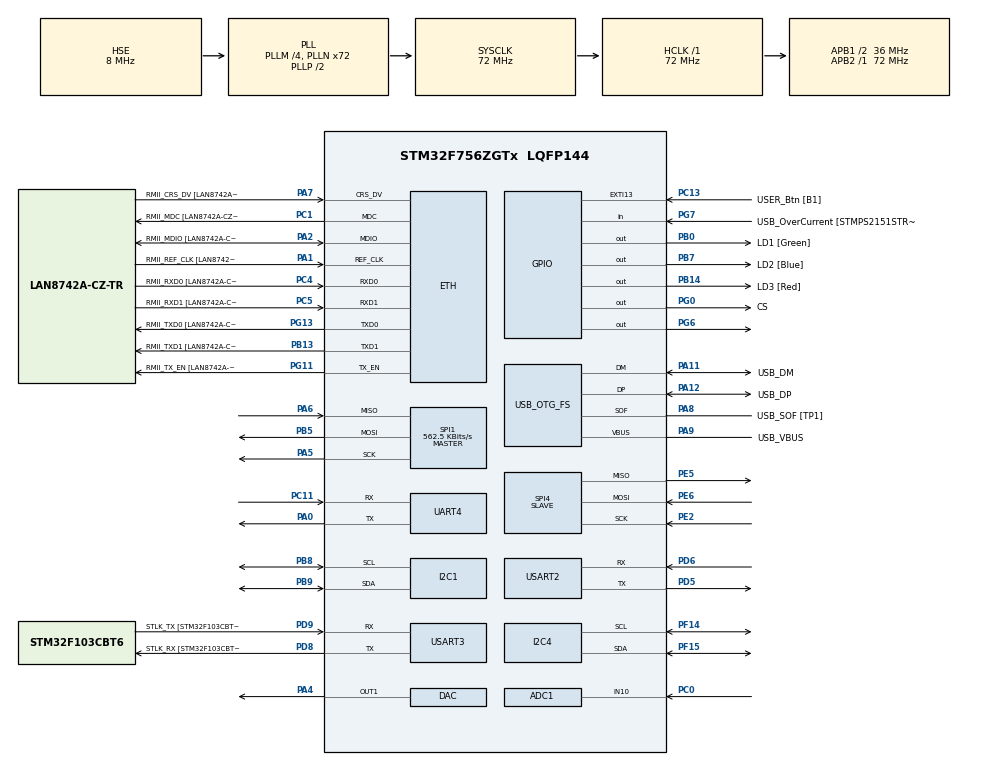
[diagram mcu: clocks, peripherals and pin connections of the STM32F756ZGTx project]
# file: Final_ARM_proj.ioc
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ADC1.Channel-0\#ChannelRegularConversion=ADC_CHANNEL_10
ADC1.NbrOfConversionFlag=1
ADC1.Rank-0\#ChannelRegularConversion=1
ADC1.Resolution=ADC_RESOLUTION_8B
ADC1.SamplingTime-0\#ChannelRegularConversion=ADC_SAMPLETIME_3CYCLES
ADC1.ScanConvMode=ADC_SCAN_ENABLE
ADC1.master=1
CORTEX_M7.CPU_DCache=Disabled
CORTEX_M7.CPU_ICache=Disabled
CORTEX_M7.MPU_Control=__NULL
CORTEX_M7.PREFETCH_ENABLE=0
Dma.I2C1_RX.1.Direction=DMA_PERIPH_TO_MEMORY
Dma.I2C1_RX.1.FIFOMode=DMA_FIFOMODE_DISABLE
Dma.I2C1_RX.1.Instance=DMA1_Stream0
Dma.I2C1_RX.1.MemDataAlignment=DMA_MDATAALIGN_BYTE
Dma.I2C1_RX.1.MemInc=DMA_MINC_ENABLE
Dma.I2C1_RX.1.Mode=DMA_NORMAL
Dma.I2C1_RX.1.PeriphDataAlignment=DMA_PDATAALIGN_BYTE
Dma.I2C1_RX.1.PeriphInc=DMA_PINC_DISABLE
Dma.I2C1_RX.1.Priority=DMA_PRIORITY_LOW
Dma.I2C4_TX.0.Direction=DMA_MEMORY_TO_PERIPH
Dma.I2C4_TX.0.FIFOMode=DMA_FIFOMODE_DISABLE
Dma.I2C4_TX.0.Instance=DMA1_Stream5
Dma.I2C4_TX.0.MemDataAlignment=DMA_MDATAALIGN_BYTE
Dma.I2C4_TX.0.MemInc=DMA_MINC_ENABLE
Dma.I2C4_TX.0.Mode=DMA_NORMAL
Dma.I2C4_TX.0.PeriphDataAlignment=DMA_PDATAALIGN_BYTE
Dma.I2C4_TX.0.PeriphInc=DMA_PINC_DISABLE
Dma.I2C4_TX.0.Priority=DMA_PRIORITY_LOW
Dma.Request0=I2C4_TX
Dma.Request1=I2C1_RX
Dma.Request2=UART4_RX
Dma.Request3=USART2_TX
Dma.Request4=SPI4_RX
Dma.Request5=SPI4_TX
Dma.Request6=SPI1_RX
Dma.Request7=SPI1_TX
Dma.SPI1_RX.6.Direction=DMA_PERIPH_TO_MEMORY
Dma.SPI1_RX.6.FIFOMode=DMA_FIFOMODE_DISABLE
Dma.SPI1_RX.6.Instance=DMA2_Stream2
Dma.SPI1_RX.6.MemDataAlignment=DMA_MDATAALIGN_BYTE
Dma.SPI1_RX.6.MemInc=DMA_MINC_ENABLE
Dma.SPI1_RX.6.Mode=DMA_NORMAL
Dma.SPI1_RX.6.PeriphDataAlignment=DMA_PDATAALIGN_BYTE
Dma.SPI1_RX.6.PeriphInc=DMA_PINC_DISABLE
Dma.SPI1_RX.6.Priority=DMA_PRIORITY_LOW
Dma.SPI1_TX.7.Direction=DMA_MEMORY_TO_PERIPH
Dma.SPI1_TX.7.FIFOMode=DMA_FIFOMODE_DISABLE
Dma.SPI1_TX.7.Instance=DMA2_Stream3
Dma.SPI1_TX.7.MemDataAlignment=DMA_MDATAALIGN_BYTE
Dma.SPI1_TX.7.MemInc=DMA_MINC_ENABLE
Dma.SPI1_TX.7.Mode=DMA_NORMAL
Dma.SPI1_TX.7.PeriphDataAlignment=DMA_PDATAALIGN_BYTE
Dma.SPI1_TX.7.PeriphInc=DMA_PINC_DISABLE
Dma.SPI1_TX.7.Priority=DMA_PRIORITY_LOW
Dma.SPI4_RX.4.Direction=DMA_PERIPH_TO_MEMORY
Dma.SPI4_RX.4.FIFOMode=DMA_FIFOMODE_DISABLE
Dma.SPI4_RX.4.Instance=DMA2_Stream0
Dma.SPI4_RX.4.MemDataAlignment=DMA_MDATAALIGN_BYTE
Dma.SPI4_RX.4.MemInc=DMA_MINC_ENABLE
Dma.SPI4_RX.4.Mode=DMA_NORMAL
Dma.SPI4_RX.4.PeriphDataAlignment=DMA_PDATAALIGN_BYTE
Dma.SPI4_RX.4.PeriphInc=DMA_PINC_DISABLE
Dma.SPI4_RX.4.Priority=DMA_PRIORITY_LOW
Dma.SPI4_TX.5.Direction=DMA_MEMORY_TO_PERIPH
Dma.SPI4_TX.5.FIFOMode=DMA_FIFOMODE_DISABLE
Dma.SPI4_TX.5.Instance=DMA2_Stream1
Dma.SPI4_TX.5.MemDataAlignment=DMA_MDATAALIGN_BYTE
Dma.SPI4_TX.5.MemInc=DMA_MINC_ENABLE
Dma.SPI4_TX.5.Mode=DMA_NORMAL
Dma.SPI4_TX.5.PeriphDataAlignment=DMA_PDATAALIGN_BYTE
Dma.SPI4_TX.5.PeriphInc=DMA_PINC_DISABLE
Dma.SPI4_TX.5.Priority=DMA_PRIORITY_LOW
Dma.UART4_RX.2.Direction=DMA_PERIPH_TO_MEMORY
Dma.UART4_RX.2.FIFOMode=DMA_FIFOMODE_DISABLE
Dma.UART4_RX.2.Instance=DMA1_Stream2
Dma.UART4_RX.2.MemDataAlignment=DMA_MDATAALIGN_BYTE
Dma.UART4_RX.2.MemInc=DMA_MINC_ENABLE
Dma.UART4_RX.2.Mode=DMA_NORMAL
Dma.UART4_RX.2.PeriphDataAlignment=DMA_PDATAALIGN_BYTE
Dma.UART4_RX.2.PeriphInc=DMA_PINC_DISABLE
Dma.UART4_RX.2.Priority=DMA_PRIORITY_LOW
Dma.USART2_TX.3.Direction=DMA_MEMORY_TO_PERIPH
Dma.USART2_TX.3.FIFOMode=DMA_FIFOMODE_DISABLE
Dma.USART2_TX.3.Instance=DMA1_Stream6
Dma.USART2_TX.3.MemDataAlignment=DMA_MDATAALIGN_BYTE
Dma.USART2_TX.3.MemInc=DMA_MINC_ENABLE
Dma.USART2_TX.3.Mode=DMA_NORMAL
Dma.USART2_TX.3.PeriphDataAlignment=DMA_PDATAALIGN_BYTE
Dma.USART2_TX.3.PeriphInc=DMA_PINC_DISABLE
Dma.USART2_TX.3.Priority=DMA_PRIORITY_LOW
ETH.MediaInterface=HAL_ETH_RMII_MODE
ETH.PHY_Name=LAN8742A_PHY_ADDRESS
ETH.PHY_Value=0
ETH.PhyAddress=0
FREERTOS.BinarySemaphores01=UartRx,Dynamic,NULL,Depleted;UartTx,Dynamic,NULL,Depleted;I2cRx,Dynamic,NULL,Depleted;I2cTx,Dynamic,NULL,Depleted;SpiRx,Dynamic,NULL,Depleted;AdcSem,Dynamic,NULL,Depleted;TimSem,Dynamic,NULL,Depleted;SpiSlaveRx,Dynamic,NULL,Depleted
FREERTOS.Queues01=testsQ,16,4,1,Dynamic,NULL,NULL
FREERTOS.Tasks01=defaultTask,24,1024,lwip_initiation,Default,NULL,Dynamic,NULL,NULL;blink_task,8,1024,blinking_blue,Default,NULL,Dynamic,NULL,NULL;udp_task,8,1024,udp_function,Default,NULL,Dynamic,NULL,NULL;performing_task,40,2048,perform_tests,Default,NULL,Dynamic,NULL,NULL
FREERTOS.configMINIMAL_STACK_SIZE=256
FREERTOS.configTOTAL_HEAP_SIZE=102400
FREERTOS.configUSE_NEWLIB_REENTRANT=1
I2C1.GeneralCallMode=I2C_GENERALCALL_DISABLE
I2C1.OwnAddress=0x78
I2C1.Timing=0x00808CD2
I2C4.Timing=0x00808CD2
LWIP.BSP.number=1
LWIP.DHCP_DEBUG=LWIP_DBG_ON
LWIP.ETH_RX_BUFFER_CNT=24
LWIP.IP_ADDRESS=192.168.100.002
LWIP.LWIP_DHCP=0
LWIP.LWIP_IPV6=0
LWIP.MEM_SIZE=10*1024
LWIP.NETIF_DEBUG=LWIP_DBG_ON
LWIP.NETMASK_ADDRESS=255.255.255.000
LWIP.Version=v2.1.2_Cube
LWIP0.BSP.STBoard=false
LWIP0.BSP.api=BSP_COMPONENT_DRIVER
LWIP0.BSP.component=LAN8742
LWIP0.BSP.instance=LAN8742
LWIP0.BSP.name=Driver_PHY
LWIP0.BSP.semaphore=S_LAN8742
LWIP0.BSP.solution=LAN8742
Mcu.Family=STM32F7
Mcu.Name=STM32F756ZGTx
Mcu.Package=LQFP144
NVIC.ADC_IRQn=true\:5\:0\:false\:false\:true\:true\:true\:true\:true
NVIC.DMA1_Stream0_IRQn=true\:6\:0\:true\:false\:true\:true\:false\:true\:true
NVIC.DMA1_Stream2_IRQn=true\:6\:0\:true\:false\:true\:true\:false\:true\:true
NVIC.DMA1_Stream5_IRQn=true\:6\:0\:true\:false\:true\:true\:false\:true\:true
NVIC.DMA1_Stream6_IRQn=true\:6\:0\:true\:false\:true\:true\:false\:true\:true
NVIC.DMA2_Stream0_IRQn=true\:6\:0\:true\:false\:true\:true\:false\:true\:true
NVIC.DMA2_Stream1_IRQn=true\:6\:0\:true\:false\:true\:true\:false\:true\:true
NVIC.DMA2_Stream2_IRQn=true\:6\:0\:true\:false\:true\:true\:false\:true\:true
NVIC.DMA2_Stream3_IRQn=true\:6\:0\:true\:false\:true\:true\:false\:true\:true
NVIC.ETH_IRQn=true\:5\:0\:false\:false\:true\:true\:true\:true\:true
NVIC.ETH_WKUP_IRQn=true\:5\:0\:false\:false\:true\:true\:true\:true\:true
NVIC.EXTI15_10_IRQn=true\:5\:0\:false\:false\:true\:true\:true\:true\:true
NVIC.FPU_IRQn=true\:5\:0\:false\:false\:true\:true\:true\:false\:true
NVIC.I2C1_ER_IRQn=true\:5\:0\:false\:false\:true\:true\:true\:true\:true
NVIC.I2C1_EV_IRQn=true\:5\:0\:false\:false\:true\:true\:true\:true\:true
NVIC.I2C4_ER_IRQn=true\:5\:0\:false\:false\:true\:true\:true\:true\:true
NVIC.I2C4_EV_IRQn=true\:5\:0\:false\:false\:true\:true\:true\:true\:true
NVIC.PriorityGroup=NVIC_PRIORITYGROUP_4
NVIC.RCC_IRQn=true\:5\:0\:false\:false\:true\:true\:true\:false\:true
NVIC.SPI1_IRQn=true\:6\:0\:true\:false\:true\:true\:true\:true\:true
NVIC.SPI4_IRQn=true\:5\:0\:false\:false\:true\:true\:true\:true\:true
NVIC.TIM6_DAC_IRQn=true\:5\:0\:false\:false\:true\:false\:false\:true\:true
NVIC.TIM7_IRQn=true\:5\:0\:false\:false\:true\:true\:true\:true\:true
NVIC.TimeBase=TIM6_DAC_IRQn
NVIC.TimeBaseIP=TIM6
NVIC.UART4_IRQn=true\:6\:0\:true\:false\:true\:true\:true\:true\:true
NVIC.USART2_IRQn=true\:6\:0\:true\:false\:true\:true\:true\:true\:true
NVIC.USART3_IRQn=true\:5\:0\:false\:false\:true\:true\:true\:true\:true
PA0/WKUP.Mode=Asynchronous
PA0/WKUP.Signal=UART4_TX
PA1.GPIO_Label=RMII_REF_CLK [LAN8742A-CZ-TR_REFCLK0]
PA1.Mode=RMII
PA1.Signal=ETH_REF_CLK
PA10.GPIO_Label=USB_ID
PA10.Signal=USB_OTG_FS_ID
PA11.GPIO_Label=USB_DM
PA11.Mode=Device_Only
PA11.Signal=USB_OTG_FS_DM
PA12.GPIO_Label=USB_DP
PA12.Mode=Device_Only
PA12.Signal=USB_OTG_FS_DP
PA13.GPIO_Label=TMS
PA13.Mode=Serial_Wire
PA13.Signal=SYS_JTMS-SWDIO
PA14.GPIO_Label=TCK
PA14.Mode=Serial_Wire
PA14.Signal=SYS_JTCK-SWCLK
PA2.GPIO_Label=RMII_MDIO [LAN8742A-CZ-TR_MDIO]
PA2.Mode=RMII
PA2.Signal=ETH_MDIO
PA4.Signal=COMP_DAC1_group
PA5.Mode=Full_Duplex_Master
PA5.Signal=SPI1_SCK
PA6.Mode=Full_Duplex_Master
PA6.Signal=SPI1_MISO
PA7.GPIO_Label=RMII_CRS_DV [LAN8742A-CZ-TR_CRS_DV]
PA7.Mode=RMII
PA7.Signal=ETH_CRS_DV
PA8.GPIO_Label=USB_SOF [TP1]
PA8.Mode=Activate_SOF_FS
PA8.Signal=USB_OTG_FS_SOF
PA9.GPIO_Label=USB_VBUS
PA9.Mode=Activate_VBUS
PA9.Signal=USB_OTG_FS_VBUS
PB0.GPIO_Label=LD1 [Green]
PB0.Signal=GPIO_Output
PB13.GPIO_Label=RMII_TXD1 [LAN8742A-CZ-TR_TXD1]
PB13.Mode=RMII
PB13.Signal=ETH_TXD1
PB14.GPIO_Label=LD3 [Red]
PB14.Signal=GPIO_Output
PB3.GPIO_Label=SW0
PB3.Signal=SYS_JTDO-SWO
PB5.Mode=Full_Duplex_Master
PB5.Signal=SPI1_MOSI
PB7.GPIO_Label=LD2 [Blue]
PB7.Signal=GPIO_Output
PB8.GPIO_Mode=GPIO_MODE_AF_OD
PB8.GPIO_Pu=GPIO_PULLUP
PB8.Mode=I2C
PB8.Signal=I2C1_SCL
PB9.GPIO_Pu=GPIO_PULLUP
PB9.Mode=I2C
PB9.Signal=I2C1_SDA
PC0.Signal=ADCx_IN10
PC1.GPIO_Label=RMII_MDC [LAN8742A-CZ-TR_MDC]
PC1.Mode=RMII
PC1.Signal=ETH_MDC
PC11.Mode=Asynchronous
PC11.Signal=UART4_RX
PC13.GPIO_Label=USER_Btn [B1]
PC13.Signal=GPXTI13
PC14/OSC32_IN.Mode=LSE-External-Oscillator
PC14/OSC32_IN.Signal=RCC_OSC32_IN
PC15/OSC32_OUT.Mode=LSE-External-Oscillator
PC15/OSC32_OUT.Signal=RCC_OSC32_OUT
PC4.GPIO_Label=RMII_RXD0 [LAN8742A-CZ-TR_RXD0]
PC4.Mode=RMII
PC4.Signal=ETH_RXD0
PC5.GPIO_Label=RMII_RXD1 [LAN8742A-CZ-TR_RXD1]
PC5.Mode=RMII
PC5.Signal=ETH_RXD1
PD5.Mode=Asynchronous
PD5.Signal=USART2_TX
PD6.Mode=Asynchronous
PD6.Signal=USART2_RX
PD8.GPIO_Label=STLK_RX [STM32F103CBT6_PA3]
PD8.Mode=Asynchronous
PD8.Signal=USART3_TX
PD9.GPIO_Label=STLK_TX [STM32F103CBT6_PA2]
PD9.Mode=Asynchronous
PD9.Signal=USART3_RX
PE2.Mode=Full_Duplex_Slave
PE2.Signal=SPI4_SCK
PE5.Mode=Full_Duplex_Slave
PE5.Signal=SPI4_MISO
PE6.Mode=Full_Duplex_Slave
PE6.Signal=SPI4_MOSI
PF14.GPIO_Pu=GPIO_PULLUP
PF14.Mode=I2C
PF14.Signal=I2C4_SCL
PF15.GPIO_Pu=GPIO_PULLUP
PF15.Mode=I2C
PF15.Signal=I2C4_SDA
PG0.GPIO_Label=CS
PG0.PinState=GPIO_PIN_SET
PG0.Signal=GPIO_Output
PG11.GPIO_Label=RMII_TX_EN [LAN8742A-CZ-TR_TXEN]
PG11.Mode=RMII
PG11.Signal=ETH_TX_EN
PG13.GPIO_Label=RMII_TXD0 [LAN8742A-CZ-TR_TXD0]
PG13.Mode=RMII
PG13.Signal=ETH_TXD0
PG6.Signal=GPIO_Output
PG7.GPIO_Label=USB_OverCurrent [STMPS2151STR_FAULT]
PG7.Signal=GPIO_Input
PH0/OSC_IN.GPIO_Label=MCO [STM32F103CBT6_PA8]
PH0/OSC_IN.Mode=HSE-External-Clock-Source
PH0/OSC_IN.Signal=RCC_OSC_IN
PH1/OSC_OUT.Mode=HSE-External-Clock-Source
PH1/OSC_OUT.Signal=RCC_OSC_OUT
ProjectManager.HeapSize=0x200
ProjectManager.StackSize=0x400
ProjectManager.TargetToolchain=STM32CubeIDE
RCC.48MHZClocksFreq_Value=24000000
RCC.AHBFreq_Value=72000000
RCC.APB1CLKDivider=RCC_HCLK_DIV2
RCC.APB1Freq_Value=36000000
RCC.APB1TimFreq_Value=72000000
RCC.APB2Freq_Value=72000000
RCC.APB2TimFreq_Value=72000000
RCC.CortexFreq_Value=72000000
RCC.HCLKFreq_Value=72000000
RCC.HSE_VALUE=8000000
RCC.HSI_VALUE=16000000
RCC.PLLM=4
RCC.PLLMUL=RCC_PLL_MUL9
RCC.PLLN=72
RCC.PLLQ=3
RCC.PRESCALERUSB=RCC_USBCLKSOURCE_PLL_DIV1_5
RCC.SYSCLKFreq_VALUE=72000000
RCC.SYSCLKSource=RCC_SYSCLKSOURCE_PLLCLK
RCC.SYSCLKSourceVirtual=RCC_SYSCLKSOURCE_PLLCLK
RCC.UART4CLockSelection=RCC_UART4CLKSOURCE_SYSCLK
RCC.USART2CLockSelection=RCC_USART2CLKSOURCE_SYSCLK
RCC.USBFreq_Value=48000000
RCC.VCOOutputFreq_Value=144000000
SH.ADCx_IN10.0=ADC1_IN10,IN10
SH.COMP_DAC1_group.0=DAC_OUT1,DAC_OUT1
SPI1.BaudRatePrescaler=SPI_BAUDRATEPRESCALER_128
SPI1.CLKPhase=SPI_PHASE_1EDGE
SPI1.CLKPolarity=SPI_POLARITY_HIGH
SPI1.CRCCalculation=SPI_CRCCALCULATION_DISABLE
SPI1.CalculateBaudRate=562.5 KBits/s
SPI1.DataSize=SPI_DATASIZE_8BIT
SPI1.Direction=SPI_DIRECTION_2LINES
SPI1.Mode=SPI_MODE_MASTER
SPI1.VirtualType=VM_MASTER
SPI4.CLKPhase=SPI_PHASE_1EDGE
SPI4.CLKPolarity=SPI_POLARITY_HIGH
SPI4.DataSize=SPI_DATASIZE_8BIT
SPI4.Direction=SPI_DIRECTION_2LINES
SPI4.Mode=SPI_MODE_SLAVE
SPI4.VirtualType=VM_SLAVE
TIM7.Period=100 - 1
TIM7.Prescaler=48000 - 1
USART2.VirtualMode-Asynchronous=VM_ASYNC
USART3.VirtualMode-Asynchronous=VM_ASYNC
USB_OTG_FS.VirtualMode=Device_Only
VP_CRC_VS_CRC.Mode=CRC_Activate
VP_FREERTOS_VS_CMSIS_V2.Mode=CMSIS_V2
VP_LWIP_VS_Enabled.Mode=Enabled
VP_SYS_VS_tim6.Mode=TIM6
VP_TIM7_VS_ClockSourceINT.Mode=Enable_Timer
board=NUCLEO-F756ZG

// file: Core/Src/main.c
/* USER CODE BEGIN Header */
/**
  ******************************************************************************
  * @file           : main.c
  * @brief          : Main program body
  ******************************************************************************
  * @attention
  *
  * Copyright (c) 2025 STMicroelectronics.
  * All rights reserved.
  *
  * This software is licensed under terms that can be found in the LICENSE file
  * in the root directory of this software component.
  * If no LICENSE file comes with this software, it is provided AS-IS.
  *
  *
  ******************************************************************************
  */
/* USER CODE END Header */
#include "main.h"
#include "cmsis_os.h"
#include "lwip.h"

/* USER CODE BEGIN Includes */
#include <stdarg.h>

#include "lwip/udp.h"

#include "FreeRTOS.h"
#include "semphr.h" // For semaphore-specific functions and types like SemaphoreHandle_t

#include "project_header.h"
#include "uarts.h"
#include "i2cs.h"
#include "spis.h"
#include "adcs.h"
#include "timer_test.h"

/* USER CODE END Includes */

/* USER CODE BEGIN PD */
extern struct netif gnetif;

/* USER CODE END PD */

/* USER CODE BEGIN PM */
#define LOCAL_PORT   5005

/* USER CODE END PM */

ADC_HandleTypeDef hadc1;

CRC_HandleTypeDef hcrc;

DAC_HandleTypeDef hdac;

I2C_HandleTypeDef hi2c1;
I2C_HandleTypeDef hi2c4;
DMA_HandleTypeDef hdma_i2c1_rx;
DMA_HandleTypeDef hdma_i2c4_tx;

SPI_HandleTypeDef hspi1;
SPI_HandleTypeDef hspi4;
DMA_HandleTypeDef hdma_spi1_rx;
DMA_HandleTypeDef hdma_spi1_tx;
DMA_HandleTypeDef hdma_spi4_rx;
DMA_HandleTypeDef hdma_spi4_tx;

TIM_HandleTypeDef htim7;

UART_HandleTypeDef huart4;
UART_HandleTypeDef huart2;
UART_HandleTypeDef huart3;
DMA_HandleTypeDef hdma_uart4_rx;
DMA_HandleTypeDef hdma_usart2_tx;

PCD_HandleTypeDef hpcd_USB_OTG_FS;

/* Definitions for defaultTask */
osThreadId_t defaultTaskHandle;
const osThreadAttr_t defaultTask_attributes = {
  .name = "defaultTask",
  .stack_size = 1024 * 4,
  .priority = (osPriority_t) osPriorityNormal,
};
/* Definitions for blink_task */
osThreadId_t blink_taskHandle;
const osThreadAttr_t blink_task_attributes = {
  .name = "blink_task",
  .stack_size = 1024 * 4,
  .priority = (osPriority_t) osPriorityLow,
};
/* Definitions for udp_task */
osThreadId_t udp_taskHandle;
const osThreadAttr_t udp_task_attributes = {
  .name = "udp_task",
  .stack_size = 1024 * 4,
  .priority = (osPriority_t) osPriorityLow,
};
/* Definitions for performing_task */
osThreadId_t performing_taskHandle;
const osThreadAttr_t performing_task_attributes = {
  .name = "performing_task",
  .stack_size = 2048 * 4,
  .priority = (osPriority_t) osPriorityHigh,
};
/* Definitions for testsQ */
osMessageQueueId_t testsQHandle;
const osMessageQueueAttr_t testsQ_attributes = {
  .name = "testsQ"
};
/* Definitions for UartRx */
osSemaphoreId_t UartRxHandle;
const osSemaphoreAttr_t UartRx_attributes = {
  .name = "UartRx"
};
/* Definitions for UartTx */
osSemaphoreId_t UartTxHandle;
const osSemaphoreAttr_t UartTx_attributes = {
  .name = "UartTx"
};
/* Definitions for I2cRx */
osSemaphoreId_t I2cRxHandle;
const osSemaphoreAttr_t I2cRx_attributes = {
  .name = "I2cRx"
};
/* Definitions for I2cTx */
osSemaphoreId_t I2cTxHandle;
const osSemaphoreAttr_t I2cTx_attributes = {
  .name = "I2cTx"
};
/* Definitions for SpiRx */
osSemaphoreId_t SpiRxHandle;
const osSemaphoreAttr_t SpiRx_attributes = {
  .name = "SpiRx"
};
/* Definitions for AdcSem */
osSemaphoreId_t AdcSemHandle;
const osSemaphoreAttr_t AdcSem_attributes = {
  .name = "AdcSem"
};
/* Definitions for TimSem */
osSemaphoreId_t TimSemHandle;
const osSemaphoreAttr_t TimSem_attributes = {
  .name = "TimSem"
};
/* Definitions for SpiSlaveRx */
osSemaphoreId_t SpiSlaveRxHandle;
const osSemaphoreAttr_t SpiSlaveRx_attributes = {
  .name = "SpiSlaveRx"
};

void SystemClock_Config(void);
static void MX_GPIO_Init(void);
static void MX_DMA_Init(void);
static void MX_I2C1_Init(void);
static void MX_USART3_UART_Init(void);
static void MX_USB_OTG_FS_PCD_Init(void);
static void MX_USART2_UART_Init(void);
static void MX_CRC_Init(void);
static void MX_I2C4_Init(void);
static void MX_SPI1_Init(void);
static void MX_ADC1_Init(void);
static void MX_TIM7_Init(void);
static void MX_UART4_Init(void);
static void MX_DAC_Init(void);
static void MX_SPI4_Init(void);
void lwip_initiation(void *argument);
void blinking_blue(void *argument);
void udp_function(void *argument);
void perform_tests(void *argument);

/* USER CODE BEGIN PFP */

static struct udp_pcb *udp_pcb_handle;
void udp_receive_init(void);
void udp_receive_callback(void *arg, struct udp_pcb *pcb,
                          struct pbuf *p, const ip_addr_t *addr, u16_t port);
int send_response(result_pro_t result);
uint32_t calculate_crc(uint8_t *data, size_t length);

/* USER CODE END PFP */

/* USER CODE BEGIN 0 */

ip_addr_t g_server_addr;
u16_t g_server_port;

/* USER CODE END 0 */

int main(void)
{

  /* MCU Configuration--------------------------------------------------------*/

  /* Reset of all peripherals, Initializes the Flash interface and the Systick. */
  HAL_Init();

  /* Configure the system clock */
  SystemClock_Config();

  /* Initialize all configured peripherals */
  MX_GPIO_Init();
  MX_DMA_Init();
  MX_I2C1_Init();
  MX_USART3_UART_Init();
  MX_USB_OTG_FS_PCD_Init();
  MX_USART2_UART_Init();
  MX_CRC_Init();
  MX_I2C4_Init();
  MX_SPI1_Init();
  MX_ADC1_Init();
  MX_TIM7_Init();
  MX_UART4_Init();
  MX_DAC_Init();
  MX_SPI4_Init();
  /* USER CODE BEGIN 2 */
  // SPI Slave start to listen

  /* USER CODE END 2 */

  /* Init scheduler */
  osKernelInitialize();

  /* Create the semaphores(s) */
  /* creation of UartRx */
  UartRxHandle = osSemaphoreNew(1, 0, &UartRx_attributes);

  /* creation of UartTx */
  UartTxHandle = osSemaphoreNew(1, 0, &UartTx_attributes);

  /* creation of I2cRx */
  I2cRxHandle = osSemaphoreNew(1, 0, &I2cRx_attributes);

  /* creation of I2cTx */
  I2cTxHandle = osSemaphoreNew(1, 0, &I2cTx_attributes);

  /* creation of SpiRx */
  SpiRxHandle = osSemaphoreNew(1, 0, &SpiRx_attributes);

  /* creation of AdcSem */
  AdcSemHandle = osSemaphoreNew(1, 0, &AdcSem_attributes);

  /* creation of TimSem */
  TimSemHandle = osSemaphoreNew(1, 0, &TimSem_attributes);

  /* creation of SpiSlaveRx */
  SpiSlaveRxHandle = osSemaphoreNew(1, 0, &SpiSlaveRx_attributes);

  /* Create the queue(s) */
  /* creation of testsQ */
  testsQHandle = osMessageQueueNew (16, 4, &testsQ_attributes);

  /* Create the thread(s) */
  /* creation of defaultTask */
  defaultTaskHandle = osThreadNew(lwip_initiation, NULL, &defaultTask_attributes);

  /* creation of blink_task */
  blink_taskHandle = osThreadNew(blinking_blue, NULL, &blink_task_attributes);

  /* creation of udp_task */
  udp_taskHandle = osThreadNew(udp_function, NULL, &udp_task_attributes);

  /* creation of performing_task */
  performing_taskHandle = osThreadNew(perform_tests, NULL, &performing_task_attributes);

  /* Start scheduler */
  osKernelStart();

  /* We should never get here as control is now taken by the scheduler */

  /* Infinite loop */
  while (1)
  {

  }
}

void SystemClock_Config(void)
{
  RCC_OscInitTypeDef RCC_OscInitStruct = {0};
  RCC_ClkInitTypeDef RCC_ClkInitStruct = {0};

  /** Configure LSE Drive Capability
  */
  HAL_PWR_EnableBkUpAccess();

  /** Configure the main internal regulator output voltage
  */
  __HAL_RCC_PWR_CLK_ENABLE();
  __HAL_PWR_VOLTAGESCALING_CONFIG(PWR_REGULATOR_VOLTAGE_SCALE3);

  /** Initializes the RCC Oscillators according to the specified parameters
  * in the RCC_OscInitTypeDef structure.
  */
  RCC_OscInitStruct.OscillatorType = RCC_OSCILLATORTYPE_HSE;
  RCC_OscInitStruct.HSEState = RCC_HSE_BYPASS;
  RCC_OscInitStruct.PLL.PLLState = RCC_PLL_ON;
  RCC_OscInitStruct.PLL.PLLSource = RCC_PLLSOURCE_HSE;
  RCC_OscInitStruct.PLL.PLLM = 4;
  RCC_OscInitStruct.PLL.PLLN = 72;
  RCC_OscInitStruct.PLL.PLLP = RCC_PLLP_DIV2;
  RCC_OscInitStruct.PLL.PLLQ = 3;
  if (HAL_RCC_OscConfig(&RCC_OscInitStruct) != HAL_OK)
  {
    Error_Handler();
  }

  /** Initializes the CPU, AHB and APB buses clocks
  */
  RCC_ClkInitStruct.ClockType = RCC_CLOCKTYPE_HCLK|RCC_CLOCKTYPE_SYSCLK
                              |RCC_CLOCKTYPE_PCLK1|RCC_CLOCKTYPE_PCLK2;
  RCC_ClkInitStruct.SYSCLKSource = RCC_SYSCLKSOURCE_PLLCLK;
  RCC_ClkInitStruct.AHBCLKDivider = RCC_SYSCLK_DIV1;
  RCC_ClkInitStruct.APB1CLKDivider = RCC_HCLK_DIV2;
  RCC_ClkInitStruct.APB2CLKDivider = RCC_HCLK_DIV1;

  if (HAL_RCC_ClockConfig(&RCC_ClkInitStruct, FLASH_LATENCY_2) != HAL_OK)
  {
    Error_Handler();
  }
}

static void MX_ADC1_Init(void)
{

  ADC_ChannelConfTypeDef sConfig = {0};

  /** Configure the global features of the ADC (Clock, Resolution, Data Alignment and number of conversion)
  */
  hadc1.Instance = ADC1;
  hadc1.Init.ClockPrescaler = ADC_CLOCK_SYNC_PCLK_DIV2;
  hadc1.Init.Resolution = ADC_RESOLUTION_8B;
  hadc1.Init.ScanConvMode = ADC_SCAN_ENABLE;
  hadc1.Init.ContinuousConvMode = DISABLE;
  hadc1.Init.DiscontinuousConvMode = DISABLE;
  hadc1.Init.ExternalTrigConvEdge = ADC_EXTERNALTRIGCONVEDGE_NONE;
  hadc1.Init.ExternalTrigConv = ADC_SOFTWARE_START;
  hadc1.Init.DataAlign = ADC_DATAALIGN_RIGHT;
  hadc1.Init.NbrOfConversion = 1;
  hadc1.Init.DMAContinuousRequests = DISABLE;
  hadc1.Init.EOCSelection = ADC_EOC_SINGLE_CONV;
  if (HAL_ADC_Init(&hadc1) != HAL_OK)
  {
    Error_Handler();
  }

  /** Configure for the selected ADC regular channel its corresponding rank in the sequencer and its sample time.
  */
  sConfig.Channel = ADC_CHANNEL_10;
  sConfig.Rank = ADC_REGULAR_RANK_1;
  sConfig.SamplingTime = ADC_SAMPLETIME_3CYCLES;
  if (HAL_ADC_ConfigChannel(&hadc1, &sConfig) != HAL_OK)
  {
    Error_Handler();
  }

}

static void MX_CRC_Init(void)
{

  hcrc.Instance = CRC;
  hcrc.Init.DefaultPolynomialUse = DEFAULT_POLYNOMIAL_ENABLE;
  hcrc.Init.DefaultInitValueUse = DEFAULT_INIT_VALUE_ENABLE;
  hcrc.Init.InputDataInversionMode = CRC_INPUTDATA_INVERSION_NONE;
  hcrc.Init.OutputDataInversionMode = CRC_OUTPUTDATA_INVERSION_DISABLE;
  hcrc.InputDataFormat = CRC_INPUTDATA_FORMAT_BYTES;
  if (HAL_CRC_Init(&hcrc) != HAL_OK)
  {
    Error_Handler();
  }

}

static void MX_DAC_Init(void)
{

  DAC_ChannelConfTypeDef sConfig = {0};

  /** DAC Initialization
  */
  hdac.Instance = DAC;
  if (HAL_DAC_Init(&hdac) != HAL_OK)
  {
    Error_Handler();
  }

  /** DAC channel OUT1 config
  */
  sConfig.DAC_Trigger = DAC_TRIGGER_NONE;
  sConfig.DAC_OutputBuffer = DAC_OUTPUTBUFFER_ENABLE;
  if (HAL_DAC_ConfigChannel(&hdac, &sConfig, DAC_CHANNEL_1) != HAL_OK)
  {
    Error_Handler();
  }

}

static void MX_I2C1_Init(void)
{

  hi2c1.Instance = I2C1;
  hi2c1.Init.Timing = 0x00808CD2;
  hi2c1.Init.OwnAddress1 = 240;
  hi2c1.Init.AddressingMode = I2C_ADDRESSINGMODE_7BIT;
  hi2c1.Init.DualAddressMode = I2C_DUALADDRESS_DISABLE;
  hi2c1.Init.OwnAddress2 = 0;
  hi2c1.Init.OwnAddress2Masks = I2C_OA2_NOMASK;
  hi2c1.Init.GeneralCallMode = I2C_GENERALCALL_DISABLE;
  hi2c1.Init.NoStretchMode = I2C_NOSTRETCH_DISABLE;
  if (HAL_I2C_Init(&hi2c1) != HAL_OK)
  {
    Error_Handler();
  }

  /** Configure Analogue filter
  */
  if (HAL_I2CEx_ConfigAnalogFilter(&hi2c1, I2C_ANALOGFILTER_ENABLE) != HAL_OK)
  {
    Error_Handler();
  }

  /** Configure Digital filter
  */
  if (HAL_I2CEx_ConfigDigitalFilter(&hi2c1, 0) != HAL_OK)
  {
    Error_Handler();
  }

}

static void MX_I2C4_Init(void)
{

  hi2c4.Instance = I2C4;
  hi2c4.Init.Timing = 0x00808CD2;
  hi2c4.Init.OwnAddress1 = 0;
  hi2c4.Init.AddressingMode = I2C_ADDRESSINGMODE_7BIT;
  hi2c4.Init.DualAddressMode = I2C_DUALADDRESS_DISABLE;
  hi2c4.Init.OwnAddress2 = 0;
  hi2c4.Init.OwnAddress2Masks = I2C_OA2_NOMASK;
  hi2c4.Init.GeneralCallMode = I2C_GENERALCALL_DISABLE;
  hi2c4.Init.NoStretchMode = I2C_NOSTRETCH_DISABLE;
  if (HAL_I2C_Init(&hi2c4) != HAL_OK)
  {
    Error_Handler();
  }

  /** Configure Analogue filter
  */
  if (HAL_I2CEx_ConfigAnalogFilter(&hi2c4, I2C_ANALOGFILTER_ENABLE) != HAL_OK)
  {
    Error_Handler();
  }

  /** Configure Digital filter
  */
  if (HAL_I2CEx_ConfigDigitalFilter(&hi2c4, 0) != HAL_OK)
  {
    Error_Handler();
  }

}

static void MX_SPI1_Init(void)
{

  /* SPI1 parameter configuration*/
  hspi1.Instance = SPI1;
  hspi1.Init.Mode = SPI_MODE_MASTER;
  hspi1.Init.Direction = SPI_DIRECTION_2LINES;
  hspi1.Init.DataSize = SPI_DATASIZE_8BIT;
  hspi1.Init.CLKPolarity = SPI_POLARITY_HIGH;
  hspi1.Init.CLKPhase = SPI_PHASE_1EDGE;
  hspi1.Init.NSS = SPI_NSS_SOFT;
  hspi1.Init.BaudRatePrescaler = SPI_BAUDRATEPRESCALER_128;
  hspi1.Init.FirstBit = SPI_FIRSTBIT_MSB;
  hspi1.Init.TIMode = SPI_TIMODE_DISABLE;
  hspi1.Init.CRCCalculation = SPI_CRCCALCULATION_DISABLE;
  hspi1.Init.CRCPolynomial = 7;
  hspi1.Init.CRCLength = SPI_CRC_LENGTH_DATASIZE;
  hspi1.Init.NSSPMode = SPI_NSS_PULSE_ENABLE;
  if (HAL_SPI_Init(&hspi1) != HAL_OK)
  {
    Error_Handler();
  }

}

static void MX_SPI4_Init(void)
{

  /* SPI4 parameter configuration*/
  hspi4.Instance = SPI4;
  hspi4.Init.Mode = SPI_MODE_SLAVE;
  hspi4.Init.Direction = SPI_DIRECTION_2LINES;
  hspi4.Init.DataSize = SPI_DATASIZE_8BIT;
  hspi4.Init.CLKPolarity = SPI_POLARITY_HIGH;
  hspi4.Init.CLKPhase = SPI_PHASE_1EDGE;
  hspi4.Init.NSS = SPI_NSS_SOFT;
  hspi4.Init.FirstBit = SPI_FIRSTBIT_MSB;
  hspi4.Init.TIMode = SPI_TIMODE_DISABLE;
  hspi4.Init.CRCCalculation = SPI_CRCCALCULATION_DISABLE;
  hspi4.Init.CRCPolynomial = 7;
  hspi4.Init.CRCLength = SPI_CRC_LENGTH_DATASIZE;
  hspi4.Init.NSSPMode = SPI_NSS_PULSE_DISABLE;
  if (HAL_SPI_Init(&hspi4) != HAL_OK)
  {
    Error_Handler();
  }

}

static void MX_TIM7_Init(void)
{

  TIM_MasterConfigTypeDef sMasterConfig = {0};

  htim7.Instance = TIM7;
  htim7.Init.Prescaler = 48000 - 1;
  htim7.Init.CounterMode = TIM_COUNTERMODE_UP;
  htim7.Init.Period = 100 - 1;
  htim7.Init.AutoReloadPreload = TIM_AUTORELOAD_PRELOAD_DISABLE;
  if (HAL_TIM_Base_Init(&htim7) != HAL_OK)
  {
    Error_Handler();
  }
  sMasterConfig.MasterOutputTrigger = TIM_TRGO_RESET;
  sMasterConfig.MasterSlaveMode = TIM_MASTERSLAVEMODE_DISABLE;
  if (HAL_TIMEx_MasterConfigSynchronization(&htim7, &sMasterConfig) != HAL_OK)
  {
    Error_Handler();
  }

}

static void MX_UART4_Init(void)
{

  huart4.Instance = UART4;
  huart4.Init.BaudRate = 115200;
  huart4.Init.WordLength = UART_WORDLENGTH_8B;
  huart4.Init.StopBits = UART_STOPBITS_1;
  huart4.Init.Parity = UART_PARITY_NONE;
  huart4.Init.Mode = UART_MODE_TX_RX;
  huart4.Init.HwFlowCtl = UART_HWCONTROL_NONE;
  huart4.Init.OverSampling = UART_OVERSAMPLING_16;
  huart4.Init.OneBitSampling = UART_ONE_BIT_SAMPLE_DISABLE;
  huart4.AdvancedInit.AdvFeatureInit = UART_ADVFEATURE_NO_INIT;
  if (HAL_UART_Init(&huart4) != HAL_OK)
  {
    Error_Handler();
  }

}

static void MX_USART2_UART_Init(void)
{

  huart2.Instance = USART2;
  huart2.Init.BaudRate = 115200;
  huart2.Init.WordLength = UART_WORDLENGTH_8B;
  huart2.Init.StopBits = UART_STOPBITS_1;
  huart2.Init.Parity = UART_PARITY_NONE;
  huart2.Init.Mode = UART_MODE_TX_RX;
  huart2.Init.HwFlowCtl = UART_HWCONTROL_NONE;
  huart2.Init.OverSampling = UART_OVERSAMPLING_16;
  huart2.Init.OneBitSampling = UART_ONE_BIT_SAMPLE_DISABLE;
  huart2.AdvancedInit.AdvFeatureInit = UART_ADVFEATURE_NO_INIT;
  if (HAL_UART_Init(&huart2) != HAL_OK)
  {
    Error_Handler();
  }

}

static void MX_USART3_UART_Init(void)
{

  huart3.Instance = USART3;
  huart3.Init.BaudRate = 115200;
  huart3.Init.WordLength = UART_WORDLENGTH_8B;
  huart3.Init.StopBits = UART_STOPBITS_1;
  huart3.Init.Parity = UART_PARITY_NONE;
  huart3.Init.Mode = UART_MODE_TX_RX;
  huart3.Init.HwFlowCtl = UART_HWCONTROL_NONE;
  huart3.Init.OverSampling = UART_OVERSAMPLING_16;
  huart3.Init.OneBitSampling = UART_ONE_BIT_SAMPLE_DISABLE;
  huart3.AdvancedInit.AdvFeatureInit = UART_ADVFEATURE_NO_INIT;
  if (HAL_UART_Init(&huart3) != HAL_OK)
  {
    Error_Handler();
  }

}

static void MX_USB_OTG_FS_PCD_Init(void)
{

  hpcd_USB_OTG_FS.Instance = USB_OTG_FS;
  hpcd_USB_OTG_FS.Init.dev_endpoints = 6;
  hpcd_USB_OTG_FS.Init.speed = PCD_SPEED_FULL;
  hpcd_USB_OTG_FS.Init.dma_enable = DISABLE;
  hpcd_USB_OTG_FS.Init.phy_itface = PCD_PHY_EMBEDDED;
  hpcd_USB_OTG_FS.Init.Sof_enable = ENABLE;
  hpcd_USB_OTG_FS.Init.low_power_enable = DISABLE;
  hpcd_USB_OTG_FS.Init.lpm_enable = DISABLE;
  hpcd_USB_OTG_FS.Init.vbus_sensing_enable = ENABLE;
  hpcd_USB_OTG_FS.Init.use_dedicated_ep1 = DISABLE;
  if (HAL_PCD_Init(&hpcd_USB_OTG_FS) != HAL_OK)
  {
    Error_Handler();
  }

}

static void MX_DMA_Init(void)
{

  /* DMA controller clock enable */
  __HAL_RCC_DMA1_CLK_ENABLE();
  __HAL_RCC_DMA2_CLK_ENABLE();

  /* DMA interrupt init */
  /* DMA1_Stream0_IRQn interrupt configuration */
  HAL_NVIC_SetPriority(DMA1_Stream0_IRQn, 6, 0);
  HAL_NVIC_EnableIRQ(DMA1_Stream0_IRQn);
  /* DMA1_Stream2_IRQn interrupt configuration */
  HAL_NVIC_SetPriority(DMA1_Stream2_IRQn, 6, 0);
  HAL_NVIC_EnableIRQ(DMA1_Stream2_IRQn);
  /* DMA1_Stream5_IRQn interrupt configuration */
  HAL_NVIC_SetPriority(DMA1_Stream5_IRQn, 6, 0);
  HAL_NVIC_EnableIRQ(DMA1_Stream5_IRQn);
  /* DMA1_Stream6_IRQn interrupt configuration */
  HAL_NVIC_SetPriority(DMA1_Stream6_IRQn, 6, 0);
  HAL_NVIC_EnableIRQ(DMA1_Stream6_IRQn);
  /* DMA2_Stream0_IRQn interrupt configuration */
  HAL_NVIC_SetPriority(DMA2_Stream0_IRQn, 6, 0);
  HAL_NVIC_EnableIRQ(DMA2_Stream0_IRQn);
  /* DMA2_Stream1_IRQn interrupt configuration */
  HAL_NVIC_SetPriority(DMA2_Stream1_IRQn, 6, 0);
  HAL_NVIC_EnableIRQ(DMA2_Stream1_IRQn);
  /* DMA2_Stream2_IRQn interrupt configuration */
  HAL_NVIC_SetPriority(DMA2_Stream2_IRQn, 6, 0);
  HAL_NVIC_EnableIRQ(DMA2_Stream2_IRQn);
  /* DMA2_Stream3_IRQn interrupt configuration */
  HAL_NVIC_SetPriority(DMA2_Stream3_IRQn, 6, 0);
  HAL_NVIC_EnableIRQ(DMA2_Stream3_IRQn);

}

static void MX_GPIO_Init(void)
{
  GPIO_InitTypeDef GPIO_InitStruct = {0};

  /* GPIO Ports Clock Enable */
  __HAL_RCC_GPIOE_CLK_ENABLE();
  __HAL_RCC_GPIOC_CLK_ENABLE();
  __HAL_RCC_GPIOH_CLK_ENABLE();
  __HAL_RCC_GPIOA_CLK_ENABLE();
  __HAL_RCC_GPIOB_CLK_ENABLE();
  __HAL_RCC_GPIOF_CLK_ENABLE();
  __HAL_RCC_GPIOG_CLK_ENABLE();
  __HAL_RCC_GPIOD_CLK_ENABLE();

  /*Configure GPIO pin Output Level */
  HAL_GPIO_WritePin(GPIOB, LD1_Pin|LD3_Pin|LD2_Pin, GPIO_PIN_RESET);

  /*Configure GPIO pin Output Level */
  HAL_GPIO_WritePin(CS_GPIO_Port, CS_Pin, GPIO_PIN_SET);

  /*Configure GPIO pin Output Level */
  HAL_GPIO_WritePin(GPIOG, GPIO_PIN_6, GPIO_PIN_RESET);

  /*Configure GPIO pin : USER_Btn_Pin */
  GPIO_InitStruct.Pin = USER_Btn_Pin;
  GPIO_InitStruct.Mode = GPIO_MODE_IT_RISING;
  GPIO_InitStruct.Pull = GPIO_NOPULL;
  HAL_GPIO_Init(USER_Btn_GPIO_Port, &GPIO_InitStruct);

  /*Configure GPIO pins : LD1_Pin LD3_Pin LD2_Pin */
  GPIO_InitStruct.Pin = LD1_Pin|LD3_Pin|LD2_Pin;
  GPIO_InitStruct.Mode = GPIO_MODE_OUTPUT_PP;
  GPIO_InitStruct.Pull = GPIO_NOPULL;
  GPIO_InitStruct.Speed = GPIO_SPEED_FREQ_LOW;
  HAL_GPIO_Init(GPIOB, &GPIO_InitStruct);

  /*Configure GPIO pins : CS_Pin PG6 */
  GPIO_InitStruct.Pin = CS_Pin|GPIO_PIN_6;
  GPIO_InitStruct.Mode = GPIO_MODE_OUTPUT_PP;
  GPIO_InitStruct.Pull = GPIO_NOPULL;
  GPIO_InitStruct.Speed = GPIO_SPEED_FREQ_LOW;
  HAL_GPIO_Init(GPIOG, &GPIO_InitStruct);

  /*Configure GPIO pin : USB_OverCurrent_Pin */
  GPIO_InitStruct.Pin = USB_OverCurrent_Pin;
  GPIO_InitStruct.Mode = GPIO_MODE_INPUT;
  GPIO_InitStruct.Pull = GPIO_NOPULL;
  HAL_GPIO_Init(USB_OverCurrent_GPIO_Port, &GPIO_InitStruct);

  /* EXTI interrupt init*/
  HAL_NVIC_SetPriority(EXTI15_10_IRQn, 5, 0);
  HAL_NVIC_EnableIRQ(EXTI15_10_IRQn);

}

/* USER CODE BEGIN 4 */

/**
 * @brief FreeRTOS Stack Overflow Hook.
 * @details Mandated by project guidelines for handling "unexpected behavior."
 * If a task exceeds its allocated stack, this locks execution and toggles the RED LED.
 * @param xTask Handle of the offending task.
 * @param pcTaskName Name of the offending task.
 */
void vApplicationStackOverflowHook(TaskHandle_t xTask, signed char *pcTaskName)
{
    // A stack overflow has been detected. This is a critical error.

    // Disable interrupts to prevent further execution and potential damage
    taskDISABLE_INTERRUPTS();
    for(;;)
    {
        // RED LED toggle for visual indication
    	HAL_GPIO_TogglePin(GPIOB, GPIO_PIN_14);
        osDelay(1000);
    }
}

/**
 * @brief Initializes the UDP Protocol Control Block (PCB) for test command reception.
 */
void udp_receive_init(void)
{
    udp_pcb_handle = udp_new();
    if (!udp_pcb_handle) {
        return;
    }
    if (udp_bind(udp_pcb_handle, IP_ADDR_ANY, LOCAL_PORT) != ERR_OK) {
        return;
    }
    udp_recv(udp_pcb_handle, udp_receive_callback, NULL);
}

/**
 * @brief LWIP Callback triggered when a UDP packet is received.
 * @details This function implements the primary proprietary protocol entry point.
 * 1. Validates packet size.
 * 2. Allocates memory for the command.
 * 3. Offloads execution to the performing task via FreeRTOS Queue.
 */
void udp_receive_callback(void *arg, struct udp_pcb *pcb, struct pbuf *p, const ip_addr_t *addr, u16_t port)
{
    if (p != NULL) {
        // Copy the sender's IP address
        ip_addr_copy(g_server_addr, *addr);
        // Copy the sender's port
        g_server_port = port;

        if (p->len >= sizeof(test_command_t))
        {
            test_command_t *cmd = (test_command_t *)pvPortMalloc(sizeof(test_command_t));
            if (cmd != NULL)
            {
			   // Copy the data from the pbuf payload to the allocated memory
			   memcpy(cmd, p->payload, sizeof(test_command_t)); // Only copy the struct size

	            // Send the POINTER to the newly allocated and copied* data to the queue
	            if (xQueueSendToBack(testsQHandle, &cmd, 1) != pdPASS) // Pass address of pointer
	            {
	            	result_pro_t response={NULL, TEST_ERR};
	            	send_response(response);
	                vPortFree(cmd); // If send fails, free the allocated memory
	            } else {
	                // notify if successfully sent to queue
	                xTaskNotifyGive(performing_taskHandle);
	            }
            }
            else{
            	result_pro_t response={NULL, TEST_ERR};
            	send_response(response);
            }
        } else {
        	result_pro_t response={NULL, TEST_ERR};
        	send_response(response);
        }
        pbuf_free(p);
    }
    else{
    	result_pro_t response={NULL, TEST_ERR};
    	send_response(response);
    }
}

/**
 * @brief Sends the test result back to the Linux Server.
 * @param result The result structure containing Test-ID and Pass/Fail status.
 * @return int 0 on success, -1 on failure.
 */
int send_response(result_pro_t result)
{
    // Check if we have a valid sender address
    if (ip_addr_isany(&g_server_addr) == 0)
    {
        // Create a new pbuf for the response data
        struct pbuf* p = pbuf_alloc(PBUF_TRANSPORT, sizeof(result_pro_t), PBUF_RAM);
        if (p != NULL)
        {
            // Copy the result struct into the pbuf payload
            memcpy(p->payload, &result, sizeof(result_pro_t));

            // Send the response to the stored address and port
            if(udp_sendto(udp_pcb_handle, p, &g_server_addr, g_server_port) != ERR_OK)
            {
                pbuf_free(p);
            	return -1;
            }
            // Free the pbuf
            pbuf_free(p);
        }
        else{
        	return -1;
        }
    }
    else{
    	return -1;
    }
}

/**
 * @brief Hardware-accelerated CRC-32 calculation.
 * @param data Pointer to the buffer.
 * @param length Length of data in bytes.
 * @return uint32_t Computed CRC value.
 */
uint32_t calculate_crc(uint8_t *data, size_t length) {
    // HAL_CRC_Calculate expects 32-bit words, so convert length
    uint32_t word_count = (length + 3) / 4; // Round up
    return HAL_CRC_Calculate(&hcrc, (uint32_t *)data, word_count);
}

/* USER CODE END 4 */

void lwip_initiation(void *argument)
{
  /* init code for LWIP */
  MX_LWIP_Init();
  for(;;)
  {
    osDelay(1);
  }
}

void blinking_blue(void *argument)
{
  /* USER CODE BEGIN blinking_blue */
  /* Infinite loop */
  for(;;)
  {
	/* visual heartbeat */
	HAL_GPIO_TogglePin(GPIOB, GPIO_PIN_7);
    osDelay(1000);
  }
  /* USER CODE END blinking_blue */
}

/* USER CODE BEGIN Header_udp_function */
int __io_putchar(int ch)
{
    HAL_UART_Transmit(&huart3, (uint8_t*)&ch, 1, HAL_MAX_DELAY);
    return ch;
}
/**
* @brief Function implementing the udp_task thread.
* @param argument: Not used
* @retval None
*/
/* USER CODE END Header_udp_function */
void udp_function(void *argument)
{
  /* USER CODE BEGIN udp_function */
	udp_receive_init();
  /* Infinite loop */
  for(;;)
  {
    osDelay(1);
  }
  /* USER CODE END udp_function */
}

/* USER CODE BEGIN Header_perform_tests */
/**
* @brief Function implementing the performing_task thread:
* sorting the commands to its test (UART/SPI/etc.)
* @param argument: Not used (using queue instead)
* @retval None
*/
/* USER CODE END Header_perform_tests */
void perform_tests(void *argument)
{
  /* USER CODE BEGIN perform_tests */
	test_command_t *cmd;

  /* Infinite loop */
  for(;;)
  {
	ulTaskNotifyTake(pdTRUE, portMAX_DELAY); // waiting for a notification

	if (xQueueReceive(testsQHandle, &cmd, 0) != pdPASS)
	{
		continue;
	}
	result_pro_t response;

	if(cmd->bit_pattern_length > MAX_BIT_PATTERN_LENGTH || cmd->test_id == NULL || cmd->iterations < 1){
		response.test_result =TEST_ERR;
		send_response(response);
	}
	response.test_id = cmd->test_id;

	switch (cmd->peripheral){
	case TIMER:
		response.test_result = timer_testing(cmd);
		break;
	case UART:
		response.test_result = uart_testing(cmd);
		break;
	case SPI:
		response.test_result = spi_testing(cmd);
		break;
	case I2C:
		response.test_result = i2c_testing(cmd);
		break;
	case ADC_P:
		response.test_result = adc_testing(cmd);
		break;
	default:
		response.test_result = TEST_ERR;
        break;
	}
    vPortFree(cmd);
    osDelay(1);
    send_response(response);
  }
  /* USER CODE END perform_tests */
}

void HAL_TIM_PeriodElapsedCallback(TIM_HandleTypeDef *htim)
{
  if (htim->Instance == TIM6)
  {
    HAL_IncTick();
  }
  /* USER CODE BEGIN Callback 1 */
  if (htim->Instance == TIM7)
  {
	    BaseType_t xHigherPriorityTaskWoken = pdFALSE;

	    // Use the ISR-safe function to give the semaphore
	    xSemaphoreGiveFromISR(TimSemHandle, &xHigherPriorityTaskWoken);

	    // Call this if a higher priority task was unblocked
	    portYIELD_FROM_ISR(xHigherPriorityTaskWoken);
  }
  /* USER CODE END Callback 1 */
}

void Error_Handler(void)
{
  __disable_irq();
  while (1)
  {
  }
}
